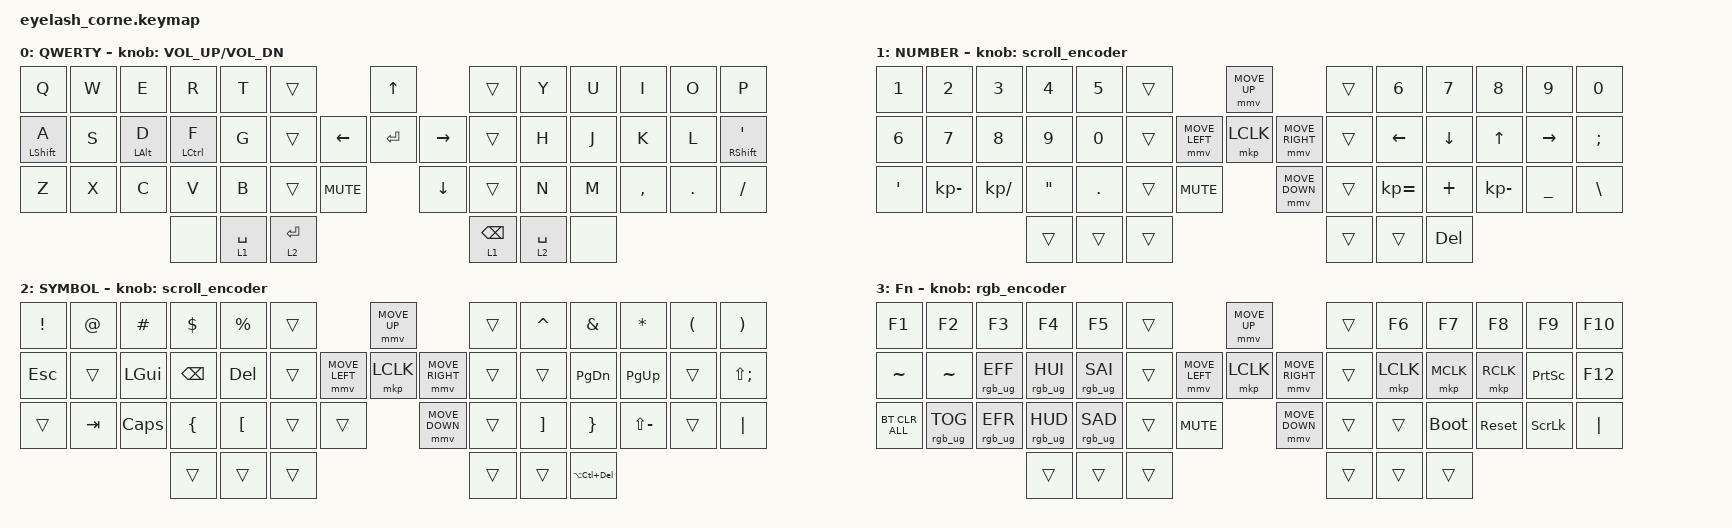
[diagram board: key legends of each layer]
#define ZMK_POINTING_DEFAULT_MOVE_VAL 1200  // 600
#define ZMK_POINTING_DEFAULT_SCRL_VAL 25   // 10

#include <input/processors.dtsi>
#include <zephyr/dt-bindings/input/input-event-codes.h>
#include <behaviors.dtsi>
#include <dt-bindings/zmk/bt.h>
#include <dt-bindings/zmk/keys.h>
#include <dt-bindings/zmk/pointing.h>
#include <dt-bindings/zmk/rgb.h>

&mt {
    tapping-term-ms = <250>;
    flavor = "balanced";
};

&lt {
    tapping-term-ms = <250>;
};

&mmv_input_listener { input-processors = <&zip_xy_scaler 2 1>; };

&msc_input_listener { input-processors = <&zip_scroll_scaler 2 1>; };

&msc {
    acceleration-exponent = <1>;      // 0
    time-to-max-speed-ms = <100>;       // 300
    delay-ms = <0>;                   // 0
};

&mmv {
    time-to-max-speed-ms = <500>;
    acceleration-exponent = <1>;
    trigger-period-ms = <16>;
};

&soft_off { hold-time-ms = <2000>; };

/ {
    behaviors {
        td0: td0 {
            compatible = "zmk,behavior-tap-dance";
            display-name = "Shift/Caps Lock Tap Dance";
            #binding-cells = <0>;
            bindings = <&kp LEFT_SHIFT>, <&kp CAPS>;
        };
    };

    rgb_encoder: rgb_encoder {
        compatible = "zmk,behavior-sensor-rotate";
        #sensor-binding-cells = <0>;
        bindings = <&rgb_ug RGB_BRI>, <&rgb_ug RGB_BRD>;
    };

    scroll_encoder: scroll_encoder {
        compatible = "zmk,behavior-sensor-rotate";
        #sensor-binding-cells = <0>;
        bindings = <&msc SCRL_DOWN>, <&msc SCRL_UP>;

        tap-ms = <100>;
    };

    combos {
        compatible = "zmk,combos";

        softoff {
            bindings = <&soft_off>;
            key-positions = <1 15 29>;
        };

        Layer3L {
            bindings = <&mo 3>;
            key-positions = <43 44>;
        };

        Layer3R {
            bindings = <&mo 3>;
            key-positions = <45 46>;
        };
    };

    keymap {
        compatible = "zmk,keymap";

        default_layer {
            display-name = "QWERTY";
            bindings = <
&kp Q             &kp W  &kp E       &kp R        &kp T        &trans                               &kp UP                &trans           &kp Y        &kp U  &kp I      &kp O       &kp P
&mt LEFT_SHIFT A  &kp S  &mt LALT D  &mt LCTRL F  &kp G        &trans                     &kp LEFT  &kp ENTER  &kp RIGHT  &trans           &kp H        &kp J  &kp K      &kp L       &mt RIGHT_SHIFT SQT
&kp Z             &kp X  &kp C       &kp V        &kp B        &trans       &kp C_MUTE              &kp DOWN              &trans           &kp N        &kp M  &kp COMMA  &kp PERIOD  &kp SLASH
                                     &none        &lt 1 SPACE  &lt 2 ENTER                                                &lt 1 BACKSPACE  &lt 2 SPACE  &none
            >;

            sensor-bindings = <&inc_dec_kp C_VOLUME_UP C_VOL_DN>;
        };

        lower_layer {
            display-name = "NUMBER";
            bindings = <
&kp NUMBER_1      &kp NUMBER_2  &kp NUMBER_3   &kp NUMBER_4       &kp N5   &trans                                &mmv MOVE_UP                     &trans  &kp NUMBER_6    &kp N7          &kp N8        &kp N9           &kp N0
&kp NUMBER_6      &kp N7        &kp N8         &kp N9             &kp N0   &trans                &mmv MOVE_LEFT  &mkp LCLK       &mmv MOVE_RIGHT  &trans  &kp LEFT_ARROW  &kp DOWN_ARROW  &kp UP_ARROW  &kp RIGHT_ARROW  &kp SEMI
&kp SINGLE_QUOTE  &kp KP_MINUS  &kp KP_DIVIDE  &kp DOUBLE_QUOTES  &kp DOT  &trans  &kp C_MUTE                    &mmv MOVE_DOWN                   &trans  &kp KP_EQUAL    &kp PLUS        &kp KP_MINUS  &kp UNDER        &kp BACKSLASH
                                               &trans             &trans   &trans                                                                 &trans  &trans          &kp DEL
            >;

            sensor-bindings = <&scroll_encoder>;
        };

        raise_layer {
            display-name = "SYMBOL";
            bindings = <
&kp EXCL  &kp AT   &kp HASH      &kp DLLR        &kp PRCNT         &trans                            &mmv MOVE_UP                     &trans  &kp CARET          &kp AMPS         &kp ASTRK      &kp LPAR  &kp RPAR
&kp ESC   &trans   &kp LEFT_GUI  &kp BACKSPACE   &kp DELETE        &trans            &mmv MOVE_LEFT  &mkp LCLK       &mmv MOVE_RIGHT  &trans  &trans             &kp PAGE_DOWN    &kp PAGE_UP    &trans    &kp LS(SEMI)
&trans    &kp TAB  &kp CAPS      &kp LEFT_BRACE  &kp LEFT_BRACKET  &trans  &trans                    &mmv MOVE_DOWN                   &trans  &kp RIGHT_BRACKET  &kp RIGHT_BRACE  &kp LS(MINUS)  &trans    &kp PIPE
                                 &trans          &trans            &trans                                                             &trans  &trans             &kp LA(LC(DEL))
            >;

            sensor-bindings = <&scroll_encoder>;
        };

        layer_3 {
            display-name = "Fn";
            bindings = <
&kp F1          &kp F2           &kp F3           &kp F4           &kp F5           &trans                                &mmv MOVE_UP                     &trans  &kp F6     &kp F7       &kp F8      &kp F9           &kp F10
&kp TILDE       &kp TILDE        &rgb_ug RGB_EFF  &rgb_ug RGB_HUI  &rgb_ug RGB_SAI  &trans                &mmv MOVE_LEFT  &mkp LCLK       &mmv MOVE_RIGHT  &trans  &mkp LCLK  &mkp MCLK    &mkp RCLK   &kp PRINTSCREEN  &kp F12
&bt BT_CLR_ALL  &rgb_ug RGB_TOG  &rgb_ug RGB_EFR  &rgb_ug RGB_HUD  &rgb_ug RGB_SAD  &trans  &kp C_MUTE                    &mmv MOVE_DOWN                   &trans  &trans     &bootloader  &sys_reset  &kp SCROLLLOCK   &kp PIPE
                                                  &trans           &trans           &trans                                                                 &trans  &trans     &trans
            >;

            sensor-bindings = <&rgb_encoder>;
        };
    };
};
